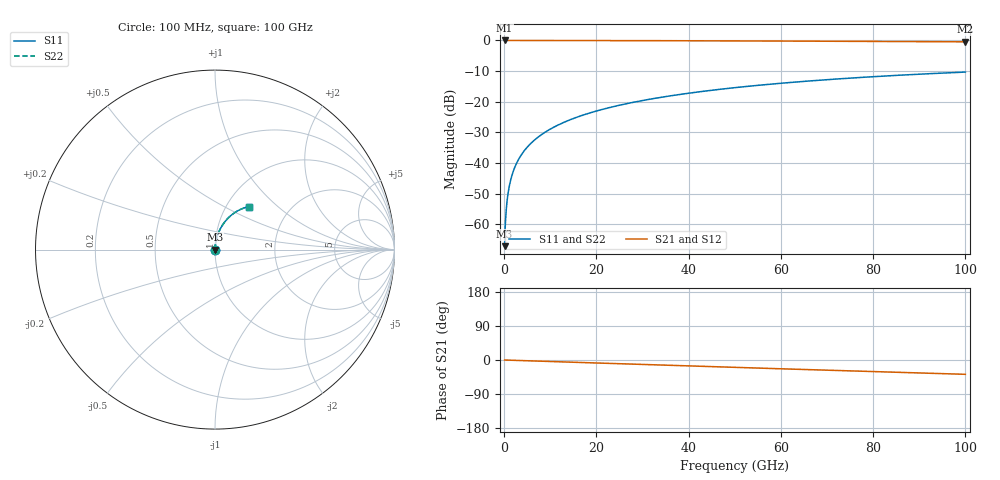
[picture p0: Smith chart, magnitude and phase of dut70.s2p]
! Touchstone file exported from HFSS 2026.1.0
!  File:  C:/ffzhzh/LocalFiles/Ansys_Project_Files/temp_train_TSV_70_1783505257_31944.aedt
!  Generated:  06:09:06 PM Jul  8, 2026
!  Design:  TSV
!  Project:  temp_train_TSV_70_1783505257_31944
! Variables:
!  h_bsmrdl = 2um
!  h_ox = 20um
!  h_rdl = 5um
!  h_sub = 59.62um
!  h_tmrdl = 5um
!  h_tsv = 59.62um
!  h_via = 3um
!  l_bsmrdl = 300um
!  l_sub = 412.68um
!  l_tmrdl = 200um
!  m_sub = 200um
!  pitch = 56.14um
!  r_tsv = 6.34um
!  s_tmrdl = 10um
!  w_bsmrdl = 18um
!  w_sub = 500um
!  w_tmrdl = 12um
!  x_tsv_center1 = 206um
!  x_tsv_center2 = 524um
!  x_tsv_center3 = 736um
!  x_tsv_center4 = 1054um
!  x_tsv_center5 = 1266um
!  x_tsv_center6 = 1584um
# GHz S MA R 50.000000
! Terminal data exported
! Port[1] = TSV1_1_T1
! Port[2] = TSV1_1_T2
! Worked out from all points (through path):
!   1000 points, 100 MHz to 100 GHz, reference 50 ohm
!   highest |S21| = 0.00 dB at 100 MHz (marker M1); lowest = -0.4 dB at 100 GHz (marker M2)
!   group delay of S21, straight-line fit = 1.05 ps
!   lowest |S11| = -67.2 dB at 100 MHz (marker M3), VSWR 1.00, Z = 50 + j0.0388 ohm
!   |S11| at or under -10 dB: start of sweep to end of sweep
!   |S22| runs from -67.2 to -10.3 dB; largest |S21 - S12| = 3.6e-15
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0.1  0.0004387 62.3  0.9998 -0.0  0.9998 -0.0  0.0004387 62.3
! Gamma 0 0 0 0
! Port Impedance 50 0 50 0
0.3  0.001164 78.6  0.9998 -0.1  0.9998 -0.1  0.001164 78.6
0.7  0.002639 84.1  0.9997 -0.3  0.9997 -0.3  0.002639 84.1
0.8  0.003009 84.6  0.9997 -0.3  0.9997 -0.3  0.003009 84.6
1  0.003747 85.2  0.9997 -0.4  0.9997 -0.4  0.003747 85.2
1.3  0.00485 85.7  0.9997 -0.5  0.9997 -0.5  0.00485 85.7
1.7  0.006312 86.0  0.9996 -0.7  0.9996 -0.7  0.006312 86.0
2.3  0.008484 86.1  0.9995 -0.9  0.9995 -0.9  0.008484 86.1
3  0.01099 86.1  0.9994 -1.2  0.9994 -1.2  0.01099 86.1
3.8  0.01384 86.0  0.9993 -1.5  0.9993 -1.5  0.01384 86.0
4.8  0.01739 85.9  0.9992 -1.9  0.9992 -1.9  0.01739 85.9
6  0.02163 85.6  0.999 -2.4  0.999 -2.4  0.02163 85.6
8.8  0.0315 84.9  0.9986 -3.5  0.9986 -3.5  0.0315 84.9
12.4  0.04412 83.7  0.9979 -4.9  0.9979 -4.9  0.04412 83.7
16.8  0.05944 82.2  0.997 -6.6  0.997 -6.6  0.05944 82.2
24.2  0.08491 79.5  0.9949 -9.5  0.9949 -9.5  0.08491 79.5
33.4  0.1159 76.1  0.9915 -13.1  0.9915 -13.1  0.1159 76.1
41.2  0.1416 73.1  0.988 -16.1  0.988 -16.1  0.1416 73.2
50.1  0.1699 69.8  0.9834 -19.5  0.9834 -19.5  0.1699 69.8
66.7  0.2196 63.7  0.9732 -25.7  0.9732 -25.7  0.2196 63.7
83.4  0.2649 57.6  0.9616 -31.8  0.9616 -31.8  0.2649 57.7
100  0.3046 51.8  0.9496 -37.8  0.9496 -37.8  0.3046 51.8
